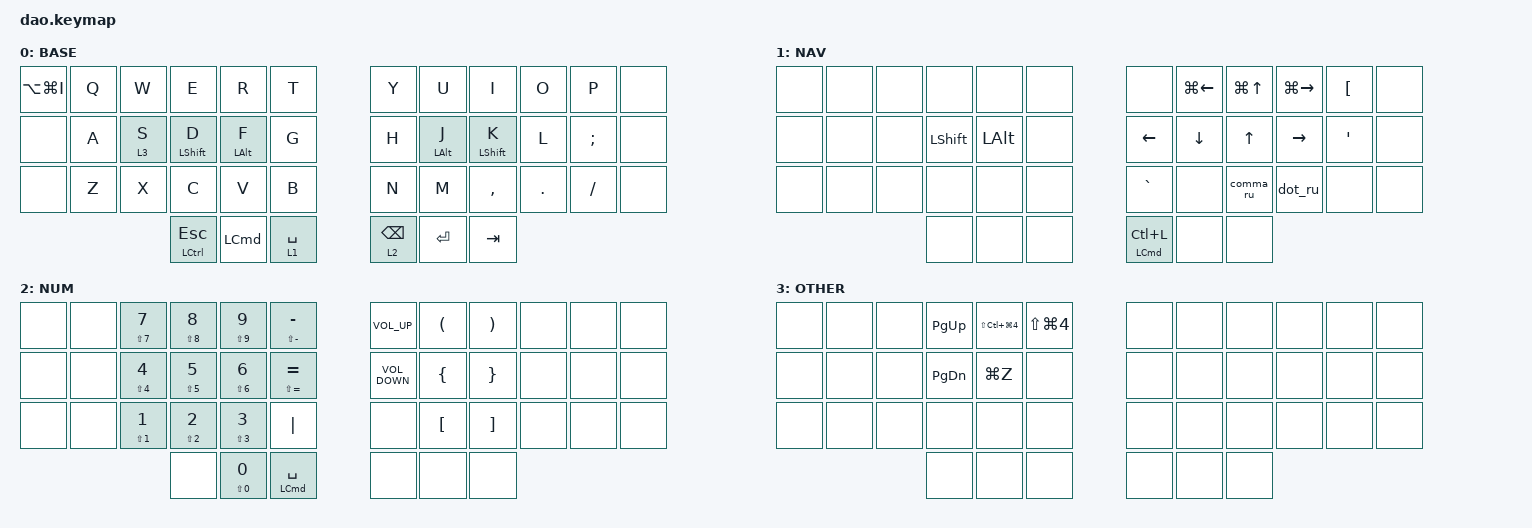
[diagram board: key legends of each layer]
/*
 * Copyright (c) 2021 Rafael Yumagulov
 *
 * SPDX-License-Identifier: MIT
 */

#include <behaviors.dtsi>
#include <dt-bindings/zmk/keys.h>

#define DEF 0
#define LWR 1
#define RSE 2
#define ADJ 3

&lt { quick_tap_ms = <200>; };

&mt {
    quick_tap_ms = <200>;
    tapping-term-ms = <150>;
    flavor = "hold-preferred";
};

/ {
    chosen {
        zmk,matrix_transform = &default_transform;

        // zmk,matrix_transform = &extra_keys_transform;
    };
};

/ {
    combos { compatible = "zmk,combos"; };

    behaviors {
        copy_cut: copy_cut {
            compatible = "zmk,behavior-tap-dance";
            label = "COPY_CUT";
            #binding-cells = <0>;
            bindings = <&kp LG(C)>, <&kp LG(X)>;
        };

        home_row: home_row {
            compatible = "zmk,behavior-hold-tap";
            label = "HOME_ROW";
            bindings = <&kp>, <&kp>;

            #binding-cells = <2>;
            tapping-term-ms = <190>;
            quick-tap-ms = <190>;
            flavor = "tap-preferred";
            require-prior-idle-ms = <125>;
        };

        tap_dance: tap_dance {
            compatible = "zmk,behavior-tap-dance";
            label = "TAP_DANCE";
            #binding-cells = <0>;
            bindings = <&none>, <&none>;
        };
    };

    macros {
        comma_ru: comma_space {
            compatible = "zmk,behavior-macro";
            #binding-cells = <0>;
            bindings = <&kp KP_DOT &kp SPACE>;
            label = "COMMA_SPACE";
        };

        dot_ru: dot_ru {
            compatible = "zmk,behavior-macro";
            #binding-cells = <0>;
            bindings = <&kp LS(KP_DOT) &kp SPACE>;
            label = "DOT_RU";
        };
    };

    keymap {
        compatible = "zmk,keymap";

        BASE {
            bindings = <
&kp LA(LG(I))  &kp Q  &kp W    &kp E                    &kp R                 &kp T        &kp Y            &kp U                 &kp I                   &kp O    &kp P     &none
&none          &kp A  &lt 3 S  &home_row LEFT_SHIFT D   &home_row LEFT_ALT F  &kp G        &kp H            &home_row LEFT_ALT J  &home_row LEFT_SHIFT K  &kp L    &kp SEMI  &none
&none          &kp Z  &kp X    &kp C                    &kp V                 &kp B        &kp N            &kp M                 &kp COMMA               &kp DOT  &kp FSLH  &none
                               &mt LEFT_CONTROL ESCAPE  &kp LEFT_COMMAND      &lt 1 SPACE  &lt 2 BACKSPACE  &kp ENTER             &kp TAB
            >;
        };

        NAV {
            bindings = <
&none  &none  &none  &none           &none         &none  &none                   &kp LG(LEFT_ARROW)  &kp LG(UP_ARROW)  &kp LG(RIGHT_ARROW)  &kp LBKT  &none
&none  &none  &none  &kp LEFT_SHIFT  &kp LEFT_ALT  &none  &kp LEFT_ARROW          &kp DOWN_ARROW      &kp UP_ARROW      &kp RIGHT_ARROW      &kp APOS  &none
&none  &none  &none  &none           &none         &none  &kp GRAVE               &none               &comma_ru         &dot_ru              &none     &none
                     &none           &none         &none  &mt LEFT_COMMAND LC(L)  &none               &none
            >;
        };

        NUM {
            bindings = <
&none  &none  &mt LS(N7) N7        &mt LS(N8) N8  &mt LS(N9) N9  &mt LS(MINUS) MINUS     &kp C_VOLUME_UP    &kp LEFT_PARENTHESIS  &kp RIGHT_PARENTHESIS  &none  &none  &none
&none  &none  &mt LS(N4) NUMBER_4  &mt LS(N5) N5  &mt LS(N6) N6  &mt LS(EQUAL) EQUAL     &kp C_VOLUME_DOWN  &kp LEFT_BRACE        &kp RIGHT_BRACE        &none  &none  &none
&none  &none  &mt LS(N1) NUMBER_1  &mt LS(N2) N2  &mt LS(N3) N3  &kp PIPE                &none              &kp LEFT_BRACKET      &kp RIGHT_BRACKET      &none  &none  &none
                                   &none          &mt LS(N0) N0  &mt LEFT_COMMAND SPACE  &none              &none                 &none
            >;
        };

        OTHER {
            bindings = <
&none  &none  &none  &kp PAGE_UP    &kp LS(LC(LG(NUMBER_4)))  &kp LS(LG(NUMBER_4))  &none  &none  &none  &none  &none  &none
&none  &none  &none  &kp PAGE_DOWN  &kp LG(Z)                 &none                 &none  &none  &none  &none  &none  &none
&none  &none  &none  &none          &none                     &none                 &none  &none  &none  &none  &none  &none
                     &none          &none                     &none                 &none  &none  &none
            >;
        };
    };
};
